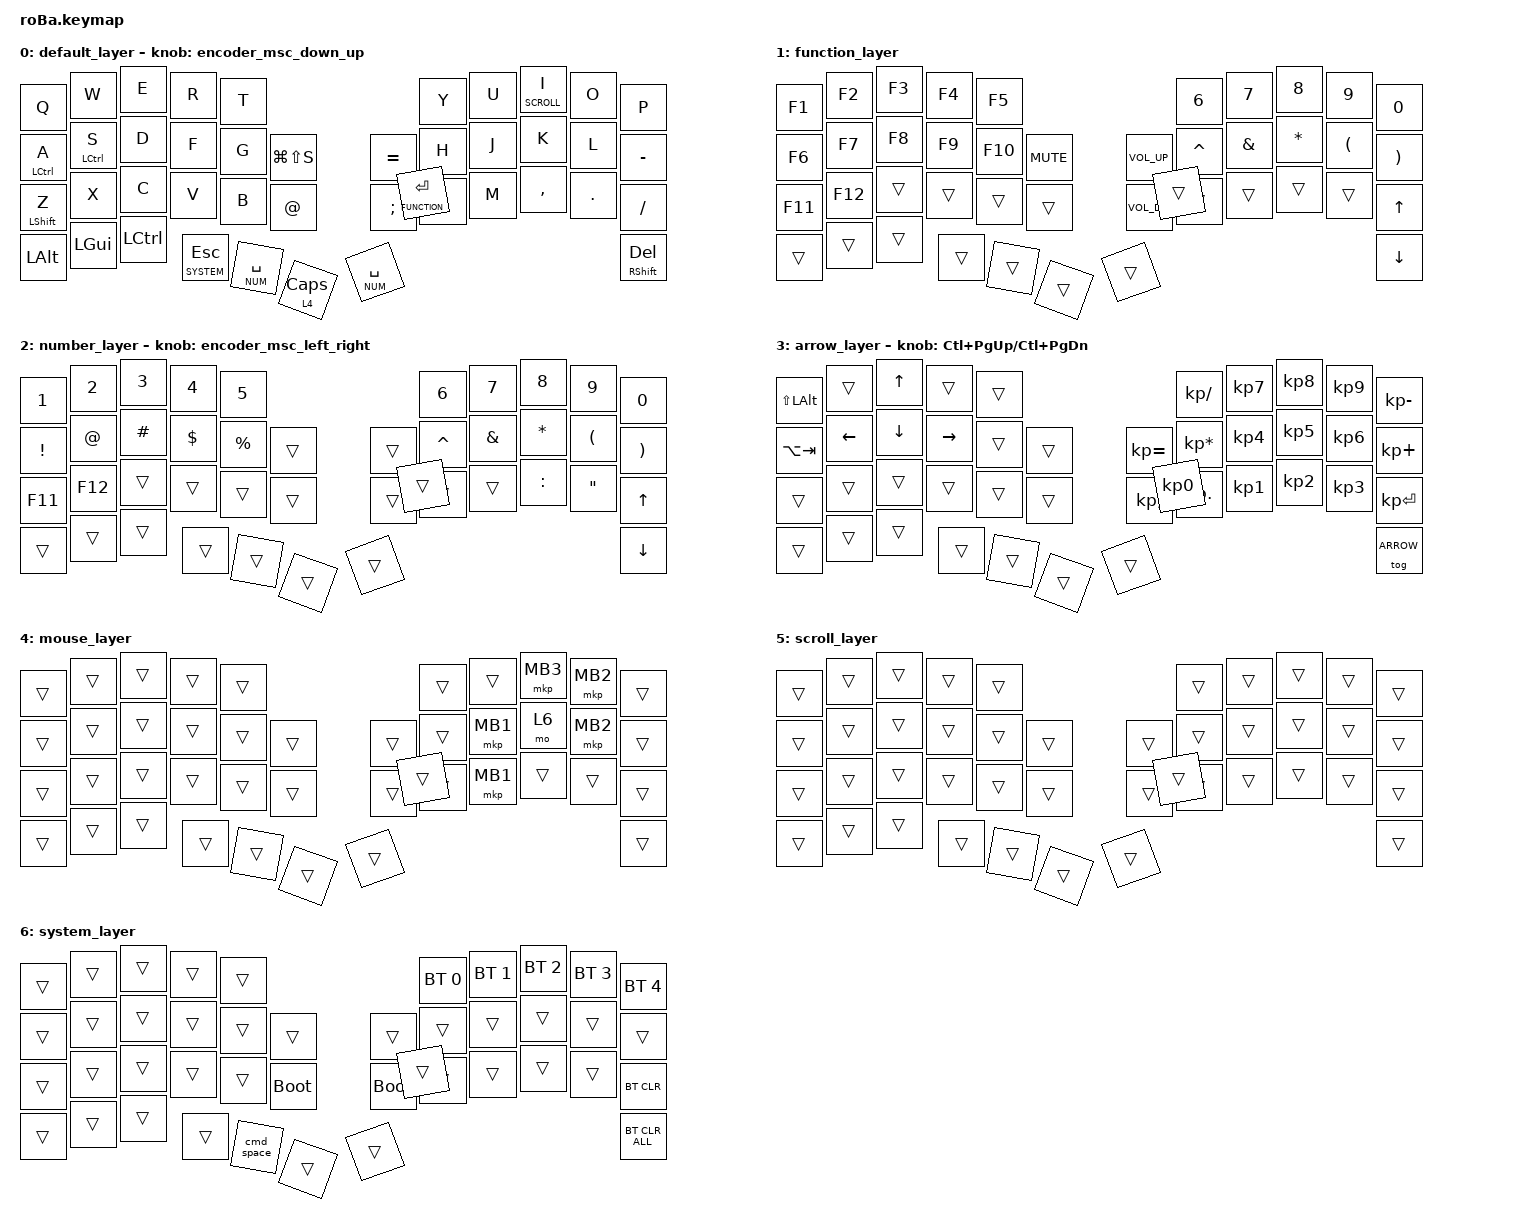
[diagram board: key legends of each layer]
#include <behaviors.dtsi>
#include <dt-bindings/zmk/bt.h>
#include <dt-bindings/zmk/keys.h>
#include <dt-bindings/zmk/pointing.h>

// Layer definitions for clarity

#define DEFAULT 0
#define FUNCTION 1
#define NUM 2
#define ARROW 3
#define MOUSE 4
#define SCROLL 5
#define SYSTEM 6
#define ZMK_POINTING_DEFAULT_SCRL_VAL 100

// Configure existing behaviors

&mt {
    flavor = "balanced";
    quick-tap-ms = <0>;
};

&sl { release-after-ms = <250>; };

/ {
    // ========================
    // COMBOS SECTION
    // ========================

    combos {
        compatible = "zmk,combos";

        // Mouse layer toggle - J+K keys

        mouse_toggle {
            bindings = <&tog MOUSE>;
            key-positions = <18 19>;
            timeout-ms = <50>;
        };

        // Navigation combos

        tab {
            bindings = <&kp TAB>;
            key-positions = <11 10>;
        };

        alt_tab {
            bindings = <&kp LA(TAB)>;
            key-positions = <11 12>;
        };

        // Punctuation combos

        enter_combo {
            bindings = <&kp ENTER>;
            key-positions = <20 21>;
        };

        equals {
            bindings = <&kp EQUAL>;
            key-positions = <8 7>;
        };

        escape {
            bindings = <&kp ESCAPE>;
            key-positions = <1 0>;
        };

        // Letter combos

        shift_z {
            bindings = <&kp LS(Z)>;
            key-positions = <22 23>;
        };

        question_mark {
            bindings = <&kp RS(SLASH)>;
            key-positions = <33 32>;
        };

        bs {
            bindings = <&kp BSPC>;
            key-positions = <9 8>;
        };
    };

    // ========================
    // MACROS SECTION
    // ========================

    macros {
        // Macro to return to layer 0 with parameter

        to_layer_0: to_layer_0 {
            compatible = "zmk,behavior-macro-one-param";
            #binding-cells = <1>;
            bindings = <&to DEFAULT &macro_param_1to1 &kp MACRO_PLACEHOLDER>;
            label = "TO_LAYER_0";
        };

        // Command+Space macro for Mac

        cmd_space: cmd_space {
            compatible = "zmk,behavior-macro";
            #binding-cells = <0>;
            bindings = <&kp LG(SPACE)>;
            label = "CMD_SPACE";
        };
    };

    // ========================
    // BEHAVIORS SECTION
    // ========================

    behaviors {
        // Layer tap that returns to layer 0

        lt_to_layer_0: lt_to_layer_0 {
            compatible = "zmk,behavior-hold-tap";
            label = "LAYER_TAP_TO_0";
            #binding-cells = <2>;
            tapping-term-ms = <200>;
            bindings = <&mo>, <&to_layer_0>;
        };

        // Space with sticky layer 2

        space_sl2: space_sl2 {
            compatible = "zmk,behavior-hold-tap";
            label = "SPACE_STICKY_LAYER_2";
            #binding-cells = <2>;
            tapping-term-ms = <200>;
            quick-tap-ms = <0>;
            flavor = "tap-preferred";
            bindings = <&sl>, <&kp>;
        };

        // Encoder behaviors

        encoder_msc_down_up: encoder_msc_down_up {
            compatible = "zmk,behavior-sensor-rotate";
            label = "ENCODER_MSC_DOWN_UP";
            #sensor-binding-cells = <0>;
            bindings = <&msc SCRL_DOWN>, <&msc SCRL_UP>;

            tap-ms = <20>;
        };

        encoder_msc_left_right: encoder_msc_left_right {
            compatible = "zmk,behavior-sensor-rotate";
            label = "ENCODER_MSC_LEFT_RIGHT";
            #sensor-binding-cells = <0>;
            bindings = <&msc SCRL_LEFT>, <&msc SCRL_RIGHT>;

            tap-ms = <20>;
        };
    };

    // ========================
    // KEYMAP SECTION
    // ========================

    keymap {
        compatible = "zmk,keymap";

        // Layer 0: Default typing layer

        default_layer {
            bindings = <
&kp Q             &kp W         &kp E      &kp R                         &kp T                                                           &kp Y               &kp U  &lt SCROLL I  &kp O    &kp P
&mt LCTRL A       &mt LCTRL S   &kp D      &kp F                         &kp G                 &kp LG(LS(S))              &kp EQUAL      &kp H               &kp J  &kp K         &kp L    &kp MINUS
&mt LEFT_SHIFT Z  &kp X         &kp C      &kp V                         &kp B                 &kp AT                     &kp SEMI       &kp N               &kp M  &kp COMMA     &kp DOT  &kp SLASH
&kp LALT          &kp LEFT_GUI  &kp LCTRL  &lt_to_layer_0 SYSTEM ESCAPE  &space_sl2 NUM SPACE  &lt_to_layer_0 4 CAPS      &lt NUM SPACE  &lt FUNCTION ENTER                                &mt RIGHT_SHIFT DELETE
            >;

            sensor-bindings = <&encoder_msc_down_up>;
        };

        // Layer 1: Function keys and numbers

        function_layer {
            bindings = <
&kp F1   &kp F2   &kp F3  &kp F4  &kp F5                                    &kp NUMBER_6  &kp NUMBER_7   &kp N8        &kp NUMBER_9          &kp NUMBER_0
&kp F6   &kp F7   &kp F8  &kp F9  &kp F10  &kp K_MUTE      &kp C_VOLUME_UP  &kp CARET     &kp AMPERSAND  &kp ASTERISK  &kp LEFT_PARENTHESIS  &kp RIGHT_PARENTHESIS
&kp F11  &kp F12  &trans  &trans  &trans   &trans          &kp C_VOL_DN     &trans        &trans         &trans        &trans                &kp UP_ARROW
&trans   &trans   &trans  &trans  &trans   &trans          &trans           &trans                                                           &kp DOWN_ARROW
            >;
        };

        // Layer 2: Numbers and symbols

        number_layer {
            bindings = <
&kp NUMBER_1  &kp NUMBER_2  &kp NUMBER_3  &kp NUMBER_4  &kp N5                         &kp NUMBER_6  &kp NUMBER_7  &kp N8     &kp NUMBER_9  &kp NUMBER_0
&kp EXCL      &kp AT        &kp POUND     &kp DLLR      &kp PRCNT  &trans      &trans  &kp CARET     &kp AMPS      &kp STAR   &kp LPAR      &kp RPAR
&kp F11       &kp F12       &trans        &trans        &trans     &trans      &trans  &trans        &trans        &kp COLON  &kp DQT       &kp UP_ARROW
&trans        &trans        &trans        &trans        &trans     &trans      &trans  &trans                                               &kp DOWN_ARROW
            >;

            sensor-bindings = <&encoder_msc_left_right>;
        };

        // Layer 3: Arrow keys and numpad

        arrow_layer {
            bindings = <
&kp LS(LEFT_ALT)  &trans          &kp UP_ARROW    &trans           &trans                            &kp KP_DIVIDE    &kp KP_NUMBER_7  &kp KP_NUMBER_8  &kp KP_NUMBER_9  &kp KP_MINUS
&kp LA(TAB)       &kp LEFT_ARROW  &kp DOWN_ARROW  &kp RIGHT_ARROW  &trans  &trans      &kp KP_EQUAL  &kp KP_MULTIPLY  &kp KP_NUMBER_4  &kp KP_NUMBER_5  &kp KP_NUMBER_6  &kp KP_PLUS
&trans            &trans          &trans          &trans           &trans  &trans      &kp KP_COMMA  &kp KP_DOT       &kp KP_NUMBER_1  &kp KP_NUMBER_2  &kp KP_NUMBER_3  &kp KP_ENTER
&trans            &trans          &trans          &trans           &trans  &trans      &trans        &kp KP_NUMBER_0                                                     &tog ARROW
            >;

            sensor-bindings = <&inc_dec_kp LC(PAGE_UP) LC(PAGE_DOWN)>;
        };

        // Layer 4: Mouse controls

        mouse_layer {
            bindings = <
&trans  &trans  &trans  &trans  &trans                    &trans  &trans    &mkp MB3  &mkp MB2  &trans
&trans  &trans  &trans  &trans  &trans  &trans    &trans  &trans  &mkp MB1  &mo 6     &mkp MB2  &trans
&trans  &trans  &trans  &trans  &trans  &trans    &trans  &trans  &mkp MB1  &trans    &trans    &trans
&trans  &trans  &trans  &trans  &trans  &trans    &trans  &trans                                &trans
            >;
        };

        // Layer 5: Scroll controls

        scroll_layer {
            bindings = <
&trans  &trans  &trans  &trans  &trans                      &trans  &trans  &trans  &trans  &trans
&trans  &trans  &trans  &trans  &trans  &trans      &trans  &trans  &trans  &trans  &trans  &trans
&trans  &trans  &trans  &trans  &trans  &trans      &trans  &trans  &trans  &trans  &trans  &trans
&trans  &trans  &trans  &trans  &trans  &trans      &trans  &trans                          &trans
            >;
        };

        // Layer 6: System controls and Bluetooth

        system_layer {
            bindings = <
&trans  &trans  &trans  &trans  &trans                                    &bt BT_SEL 0  &bt BT_SEL 1  &bt BT_SEL 2  &bt BT_SEL 3  &bt BT_SEL 4
&trans  &trans  &trans  &trans  &trans      &trans           &trans       &trans        &trans        &trans        &trans        &trans
&trans  &trans  &trans  &trans  &trans      &bootloader      &bootloader  &trans        &trans        &trans        &trans        &bt BT_CLR
&trans  &trans  &trans  &trans  &cmd_space  &trans           &trans       &trans                                                  &bt BT_CLR_ALL
            >;
        };
    };
};
